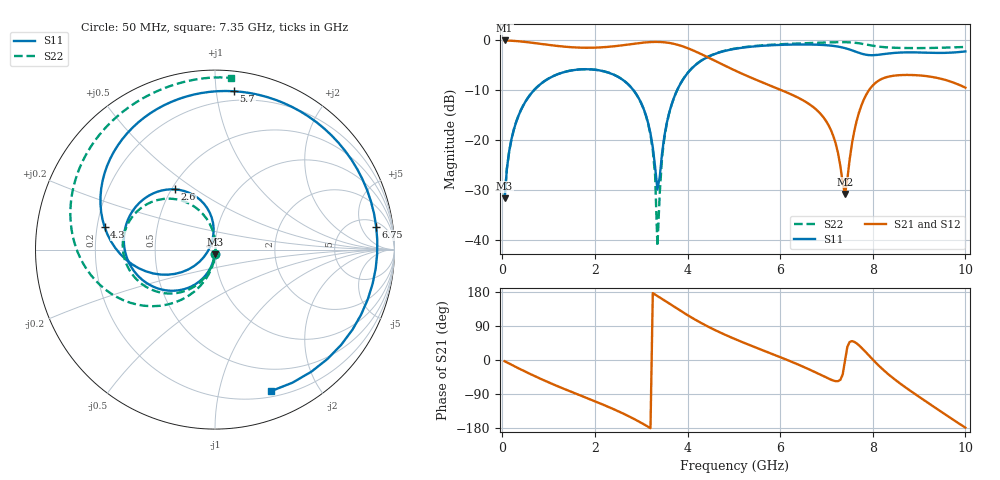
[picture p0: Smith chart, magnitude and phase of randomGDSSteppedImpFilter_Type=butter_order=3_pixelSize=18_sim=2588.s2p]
! freq	dB(S11)	phase(S11)	dB(S12)	phase(S12)
!  dB(S21)	phase(S21)	dB(S22)	phase(S22)
!S-par simulation data
#  GHz  S  DB  R 50
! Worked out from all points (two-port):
!   200 points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, 50 MHz to 10 GHz, reference 50 ohm
!   highest |S21| = -0.01 dB at 50 MHz (marker M1); lowest = -30.8 dB at 7.4 GHz (marker M2)
!   |S21| within 3 dB of the highest: start of sweep to 4.355 GHz
!   lowest |S11| = -31.6 dB at 50 MHz (marker M3), VSWR 1.05, Z = 49.8 - j2.6 ohm
!   |S11| at or under -10 dB: start of sweep to 683.7 MHz; 2.833 GHz to 3.775 GHz (941.8 MHz wide, 28.5 % of centre)
!   |S22| runs from -41.2 to -0.4 dB; largest |S21 - S12| = 0
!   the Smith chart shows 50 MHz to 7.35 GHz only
!   S11 on the Smith chart (normalised r, x): 50 MHz: 1.00, -0.05; 2.6 GHz: 0.52, +0.42; 4.3 GHz: 0.23, +0.10; 5.7 GHz: 0.13, +1.12; 6.75 GHz: 7, +10; 7.35 GHz: 0.26, -1.44
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0.05  -31.64 -93.3  -0.01 -3.2  -0.01 -3.2  -31.64 -93.1
0.5  -12.27 -122.6  -0.31 -30.9  -0.31 -30.9  -12.26 -120.2
1.75  -5.78 168.8  -1.47 -96.7  -1.47 -96.7  -5.77 177.1
2.6  -7.89 123.6  -0.97 -140.7  -0.97 -140.7  -7.88 135.6
3.2  -18.66 93.8  -0.33 -179.9  -0.33 -179.9  -18.92 97.7
3.3  -25.39 106.5  -0.30 172.7  -0.30 172.7  -27.07 87.9
3.35  -29.90 142.9  -0.30 168.9  -0.30 168.9  -41.24 65.3
3.4  -27.36 -164.2  -0.31 165.1  -0.31 165.1  -30.63 -88.1
3.65  -13.02 -145.8  -0.58 145.4  -0.58 145.4  -13.07 -112.4
4.3  -4.05 168.5  -2.76 97.3  -2.76 97.3  -4.01 -157.2
5.05  -1.64 121.2  -6.14 53.9  -6.14 53.9  -1.59 165.3
5.7  -1.03 83.2  -8.73 22.1  -8.73 22.1  -0.93 140.4
6.7  -0.83 12.6  -13.25 -28.9  -13.25 -28.9  -0.51 107.1
6.75  -0.85 8.1  -13.62 -31.8  -13.62 -31.8  -0.49 105.4
7.35  -1.43 -68.4  -28.52 -38.5  -28.52 -38.5  -0.35 84.5
7.4  -1.55 -77.6  -30.81 -2.2  -30.81 -2.2  -0.36 82.6
7.85  -2.86 171.1  -11.03 20.6  -11.03 20.6  -0.81 65.7
8.1  -2.90 104.7  -8.22 -11.3  -8.22 -11.3  -1.20 58.4
8.35  -2.61 52.0  -7.24 -39.0  -7.24 -39.0  -1.42 51.9
8.75  -2.39 -12.4  -6.92 -76.1  -6.92 -76.1  -1.53 40.9
9.25  -2.48 -82.7  -7.28 -117.8  -7.28 -117.8  -1.52 25.8
10  -2.21 175.4  -9.47 -178.5  -9.47 -178.5  -1.31 -0.5
